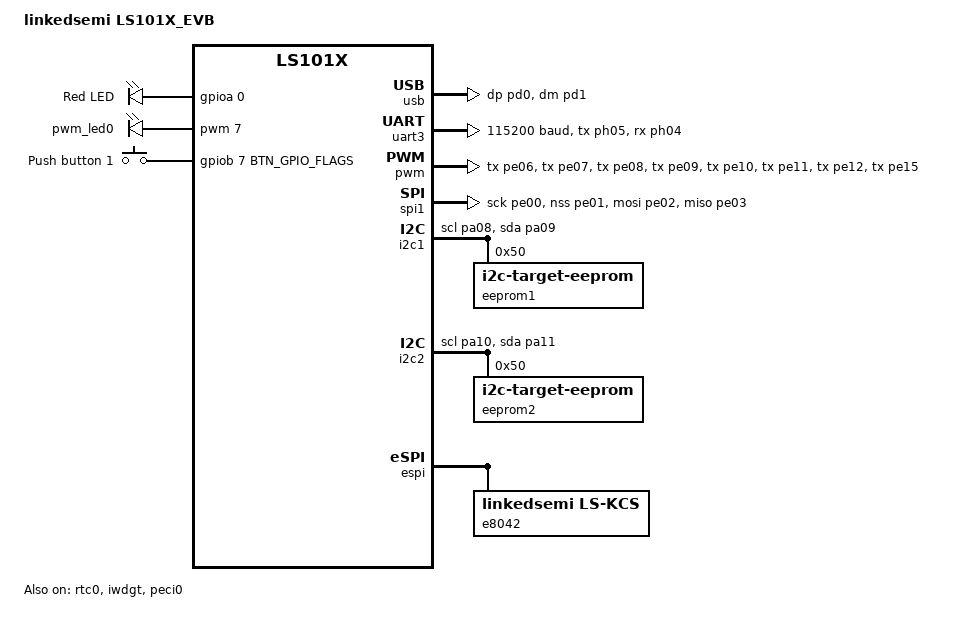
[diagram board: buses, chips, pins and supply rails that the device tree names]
/*
 * Copyright (c) 2024  Linkedsemi
 *
 * SPDX-License-Identifier: Apache-2.0
 */


/dts-v1/;
#include <riscv/linkedsemi/ls101x.dtsi>
#include "ls101x_evb-pinctrl.dtsi"
#include <zephyr/dt-bindings/pinctrl/ls101x-pinctrl.h>
#include <zephyr/dt-bindings/input/input-event-codes.h>
#include <zephyr/dt-bindings/i2c/i2c.h>
#include <zephyr/dt-bindings/sensor/linkedsemi-cap.h>

#define BTN_GPIO_FLAGS (GPIO_ACTIVE_HIGH | GPIO_PULL_UP)

/ {
	model = "linkedsemi LS101X_EVB";
	compatible = "linkedsemi,ls101x_evb";

	chosen {
		zephyr,flash = &flash0;
		zephyr,sram = &sram0;
		zephyr,shell-uart = &uart3;
		zephyr,console = &uart3;
	};

    aliases {
        testi2c1 = &i2c1;
        testi2c2 = &i2c2;
        testeeprom1 = &eeprom1;
        testeeprom2 = &eeprom2;
		led0 = &led0;
		sw0 = &btn0;
		peci-0 = &peci0;
		pwm-led0 = &pwm_led0;
    rtc0 = &rtc0;	
    watchdog0 = &iwdgt;
	};

	leds{
		compatible = "gpio-leds";
		led0: led_0{
			gpios = <&gpioa 0 GPIO_ACTIVE_HIGH>;
			label = "Red LED";
		};
	};

	pwmleds {
		compatible = "pwm-leds";
		pwm_led0: pwm_led_0 {
			pwms = <&pwm 7 200 0>;
		};
	};

	keys {
		compatible = "gpio-keys";
		btn0: btn_0{
			gpios = <&gpiob 7 BTN_GPIO_FLAGS>;
			label = "Push button 1";
		};
	};

	ipmi {
		compatible = "linkedsemi,ls-ipmi-kcs";
		kcs_chan = <&e8042>;
	};
	hwmon0 {
		compatible = "linkedsemi,hwmon";
		class = <0>;
		hwmon-ins = <&cap 0>;//,<&pwm 1>;
	};
};

zephyr_udc0: &usb {
	pinctrl-0 = <&usb_dp_pd0 &usb_dm_pd1>;
	pinctrl-names = "default";
	status = "okay";
};

&flash0 {

    /*
	* Flash base address is 0x8000000,
    * the following parts are all offset addresses.
	*/

	partitions {
		compatible = "fixed-partitions";
		#address-cells = <1>;
		#size-cells = <1>;

		boot_partition: partition@0 {
			label = "info-sbl";
			reg = <0x00000000 0x00001800>;
		};
	
        app_partition: partition@1800 {
			label = "app";
			reg = <0x00001800 0x0007c800>;
		};

		/*
		 * The flash starting at 0x807d000 and ending at
		 * 0x807FFFF is reserved for use by the application.
		 */

		/*
		 * Storage partition will be used by FCB/LittleFS/NVS
		 * if enabled.
		 */
		storage_partition: partition@7d000 {
			label = "storage";
			reg = <0x0007d000 0x00003000>;
		};
	};
};

&cpu0 {
	clock-frequency = <144000000>;
	cpu-power-states = <&idle &lp0>;
};

&rtc0{
    status = "okay";

 };

&uart1 {
	status = "disabled";
	pinctrl-0 = <&uart1_tx_pb00 &uart1_rx_pb01>;
	pinctrl-names = "default";
	current-speed = <921600>;
};
&uart2 {
	status = "disabled";
	pinctrl-0 = <&uart2_tx_pb02 &uart2_rx_pb03 >;
	pinctrl-names = "default";
	current-speed = <921600>;
};
&uart3 {
	status = "okay";
	pinctrl-0 = <&uart3_tx_ph05 &uart3_rx_ph04>;
	pinctrl-names = "default";
	current-speed = <115200>;
};

&cap {
    prescaler = <7>;
    channels = <CAP_DISABLED CAP_DISABLED CAP_MODE0 CAP_MODE1 CAP_MODE1 CAP_MODE1 CAP_MODE1 CAP_MODE1>;//cap_mode
    pinctrl-0 = <&cap1_rx_pf00 &cap2_rx_pf01 &cap3_rx_pf02 &cap4_rx_pf03 &cap5_rx_pf04
                 &cap6_rx_pf05 &cap7_rx_pf06 &cap8_rx_pf07>;
    pinctrl-names = "default";
};

&pwm {
	status = "okay";
	prescaler = <7>;
    pinctrl-0 = <&pwm1_tx_pe06 &pwm2_tx_pe07 &pwm3_tx_pe08 &pwm4_tx_pe09 &pwm5_tx_pe10
                 &pwm6_tx_pe11 &pwm7_tx_pe12 &pwm8_tx_pe15>;
    pinctrl-names = "default";
};
&dwuart1 {
	status = "disabled";
	pinctrl-0 = <&dwuart1_tx_pb06 &dwuart1_rx_pb07>;
	pinctrl-names = "default";
	current-speed = <921600>;
};

&dwuart2 {
	status = "disabled";
	pinctrl-0 = <&dwuart2_tx_pb08 &dwuart2_rx_pb09>;
	pinctrl-names = "default";
	current-speed = <921600>;
};

&adc1 {
	status = "disabled";
	pinctrl-0 = <&adc1_in5_pa14>;
	pinctrl-names = "default";
};

&adc2 {
	status = "disabled";
	pinctrl-0 = <&adc2_in5_ph13>;
	// pinctrl-0 = <&amic_pa00>;
	pinctrl-names = "default";
};

&dac12 {
	status = "disabled";
	pinctrl-0 = <&dac1_out1_pa02>;
	pinctrl-names = "default";
};

&spi1 {
	status = "okay";
	pinctrl-0 = <&spi1_sck_pe00 &spi1_nss_pe01
	             &spi1_mosi_pe02 &spi1_miso_pe03>;
	pinctrl-names = "default";

	cs-gpios = <&gpioe 1 GPIO_ACTIVE_LOW>;
};

&spi2 {
	status = "disabled";
	pinctrl-0 = <&spi2_sck_pb12 &spi2_nss_pb13
	             &spi2_mosi_pb14 &spi2_miso_pb15>;
	pinctrl-names = "default";

	cs-gpios = <&gpiob 13 GPIO_ACTIVE_LOW>;
};

&spi3 {
	status = "disabled";
	pinctrl-0 = <&spi3_sck_pa12 &spi3_nss_pa13
	             &spi3_mosi_pa14 &spi3_miso_pa15>;
	pinctrl-names = "default";

	cs-gpios = <&gpioa 13 GPIO_ACTIVE_LOW>;
};

&iwdgt
{
	status = "okay";
};

&i2c1 {
	status = "okay";
	pinctrl-0 = <&i2c1_scl_pa08 &i2c1_sda_pa09>;
	pinctrl-names = "default";
};

&i2c2 {
	status = "okay";
	pinctrl-0 = <&i2c2_scl_pa10 &i2c2_sda_pa11>;
	pinctrl-names = "default";
};

&i2c1 {
	eeprom1: eeprom@50 {
		compatible = "zephyr,i2c-target-eeprom";
		reg = <0x50>;
		size = <256>;
	};
};

&i2c2 {
	eeprom2: eeprom@50 {
		compatible = "zephyr,i2c-target-eeprom";
		reg = <0x50>;
		size = <256>;
	};
};

&espi {
	e8042: e8042 {
		compatible = "linkedsemi,ls-kcs";
		port = <0x60 0x64>;
		up-irq = <1 0>;
		status = "okay";
	};


	status = "okay";
};

&peci0 {
	status = "okay";
	pinctrl-0 = <&peci_default_pc04>;
	pinctrl-names = "default";
};

&gpioa {
	status = "okay";
};

&gpiob {
	status = "okay";
};

&gpioc {
	status = "okay";
};

&gpiod {
	status = "okay";
};

&gpioe {
	status = "okay";
};

&gpiof {
	status = "okay";
};

&gpiog {
	status = "okay";
};

&gpioh {
	status = "okay";
};

